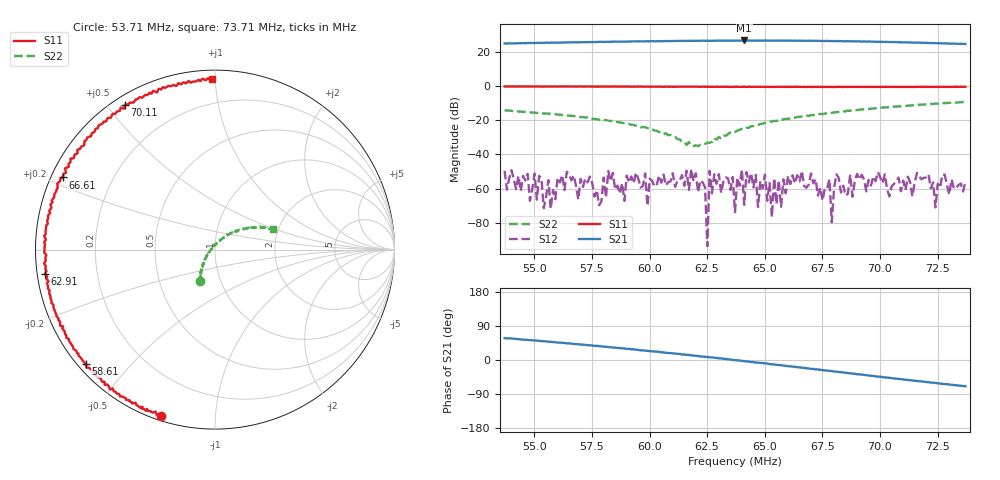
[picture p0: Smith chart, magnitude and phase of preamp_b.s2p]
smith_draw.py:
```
# pip install scikit-rf

import matplotlib.pyplot as plt
import skrf as rf


ntwk=rf.Network('preamp_b.s2p')
#ntwk.plot_s_smith()
#ntwk.plot_s_smith(draw_labels=True)
ntwk.plot_s_db()
#print(ntwk)

#plt.figure()
plt.title('Measured data')
plt.xlabel('Frequency[Hz]')
plt.ylabel('S parameter[dB]')
plt.show()
```
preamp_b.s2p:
# Hz S DB R 50
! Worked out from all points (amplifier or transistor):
!   201 points, 53.71 MHz to 73.71 MHz, reference 50 ohm
!   highest |S21| = 26.6 dB at 64.11 MHz (marker M1)
!   |S21| within 3 dB of that: start of sweep to end of sweep
!   unconditionally stable (mu >= 1): 64.42 MHz to 66.61 MHz; 66.61 MHz to 68.11 MHz; 69.91 MHz to end of sweep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
!   at 57.01 MHz: K = 0.80, MSG = 39.9 dB, |S12| = -54.3 dB
!   at 63.71 MHz: K = 10.73, MAG = 36.9 dB, |S12| = -73.8 dB
!   at 73.71 MHz: K = 1.69, MAG = 35.4 dB, |S12| = -55.9 dB
!   S11 on the Smith chart (normalised r, x): 53.71 MHz: 0.02, -0.73; 58.61 MHz: 0.02, -0.38; 62.91 MHz: 0.02, -0.07; 66.61 MHz: 0.03, +0.22; 70.11 MHz: 0.03, +0.56; 73.71 MHz: 0.05, +0.98
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5.371e7  -0.23 -107.9  24.91 57.9  -49.56 128.8  -14.32 -115.2
5.861e7  -0.34 -138.6  25.88 31.7  -58.22 38.2  -21.10 -131.5
6.291e7  -0.38 -171.9  26.57 5.6  -57.16 56.2  -31.36 91.5
6.371e7  -0.43 -179.1  26.59 -0.1  -73.82 -20.0  -26.86 70.4
6.411e7  -0.42 177.5  26.65 -2.7  -69.50 143.5  -25.09 59.7
6.661e7  -0.54 154.7  26.43 -20.4  -49.63 51.7  -17.84 45.9
6.781e7  -0.56 143.2  26.27 -28.7  -54.52 -11.7  -15.61 40.6
6.791e7  -0.53 142.5  26.32 -29.1  -79.71 152.9  -15.69 39.1
6.811e7  -0.48 140.2  26.32 -30.8  -51.64 -85.0  -15.33 39.3
7.011e7  -0.44 121.9  25.89 -45.0  -56.84 -43.2  -12.63 31.1
7.371e7  -0.42 90.9  24.59 -69.3  -55.94 -58.6  -9.30 19.5
